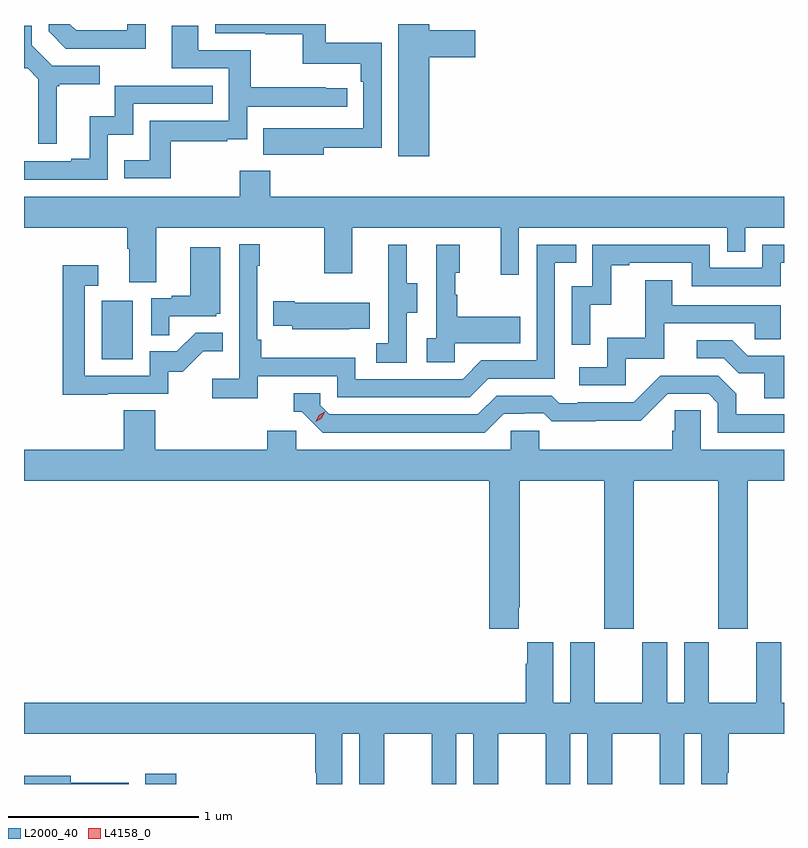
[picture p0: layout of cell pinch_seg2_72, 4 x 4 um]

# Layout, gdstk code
import gdstk
lib = gdstk.Library(unit=1e-6, precision=1e-09)
def R(c, l, rs):  # rectangles x0, y0, x1, y1
    for r in rs: c.add(gdstk.rectangle(r[:2], r[2:], *l))
def P(c, l, *ps):  # polygons
    for p in ps: c.add(gdstk.Polygon(p, *l))
L2000_40 = (2000, 40)
L4158_0 = (4158, 0)

pinch_seg2_72 = lib.new_cell('pinch_seg2_72')
R(pinch_seg2_72, L2000_40, [(1046.225,648.704,1046.386,648.757), (1045.994,650.94,1046.158,651.247)])
P(pinch_seg2_72, L2000_40, [(1047.718,652.529),(1047.961,652.529),(1047.961,652.671),(1047.718,652.671),(1047.718,652.704),(1047.557,652.704),(1047.557,652.008),(1047.718,652.008)],
  [(1046.227,652.704),(1046.13,652.704),(1046.13,652.671),(1045.86,652.671),(1045.827,652.704),(1045.716,652.704),(1045.716,652.665),(1045.806,652.575),(1046.022,652.575),(1046.022,652.574),(1046.227,652.574)],
  [(1047.163,652.054),(1047.468,652.054),(1047.468,652.606),(1047.175,652.606),(1047.175,652.704),(1046.592,652.704),(1046.592,652.656),(1046.857,652.656),(1046.857,652.651),(1047.054,652.651),(1047.054,652.496),(1047.359,652.496),(1047.359,652.4),(1047.372,652.4),(1047.372,652.155),(1047.059,652.155),(1047.059,652.156),(1046.845,652.156),(1046.845,652.016),(1047.163,652.016)],
  [(1045.759,652.377),(1045.771,652.377),(1045.771,652.388),(1045.984,652.388),(1045.984,652.485),(1045.734,652.485),(1045.627,652.592),(1045.627,652.694),(1045.586,652.694),(1045.586,652.47),(1045.605,652.47),(1045.662,652.413),(1045.662,652.074),(1045.759,652.074)],
  [(1046.359,652.086),(1046.657,652.086),(1046.657,652.097),(1046.76,652.097),(1046.76,652.269),(1047.286,652.269),(1047.286,652.365),(1047.173,652.365),(1047.173,652.37),(1046.78,652.37),(1046.78,652.566),(1046.503,652.566),(1046.503,652.694),(1046.363,652.694),(1046.363,652.47),(1046.664,652.47),(1046.664,652.194),(1046.248,652.194),(1046.248,651.988),(1046.113,651.988),(1046.113,651.891),(1046.359,651.891)],
  [(1046.028,652.121),(1046.16,652.121),(1046.16,652.284),(1046.579,652.284),(1046.579,652.38),(1046.064,652.38),(1046.064,652.219),(1045.931,652.219),(1045.931,651.994),(1045.835,651.994),(1045.835,651.981),(1045.586,651.981),(1045.586,651.885),(1046.028,651.885)],
  [(1046.281,651.632),(1047.166,651.632),(1047.166,651.393),(1047.313,651.393),(1047.313,651.632),(1048.094,651.632),(1048.094,651.384),(1048.191,651.384),(1048.191,651.632),(1049.286,651.632),(1049.286,651.505),(1049.382,651.505),(1049.382,651.632),(1049.586,651.632),(1049.586,651.796),(1046.882,651.796),(1046.882,651.931),(1046.722,651.931),(1046.722,651.796),(1045.586,651.796),(1045.586,651.632),(1046.129,651.632),(1046.129,651.52),(1046.141,651.52),(1046.141,651.346),(1046.281,651.346)],
  [(1046.816,650.85),(1047.234,650.85),(1047.234,650.739),(1047.931,650.739),(1048.03,650.838),(1048.38,650.838),(1048.38,651.447),(1048.493,651.447),(1048.493,651.543),(1048.284,651.543),(1048.284,650.934),(1047.993,650.934),(1047.894,650.835),(1047.33,650.835),(1047.33,650.947),(1046.834,650.947),(1046.834,651.043),(1046.814,651.043),(1046.814,651.431),(1046.827,651.431),(1046.827,651.544),(1046.718,651.544),(1046.718,650.836),(1046.577,650.836),(1046.577,650.734),(1046.816,650.734)],
  [(1048.566,651.227),(1048.676,651.227),(1048.676,651.435),(1048.771,651.435),(1048.771,651.447),(1049.1,651.447),(1049.1,651.324),(1049.568,651.324),(1049.568,651.447),(1049.586,651.447),(1049.586,651.543),(1049.472,651.543),(1049.472,651.42),(1049.196,651.42),(1049.196,651.543),(1048.578,651.543),(1048.578,651.324),(1048.47,651.324),(1048.47,651.015),(1048.566,651.015)],
  [(1047.6,651.184),(1047.655,651.184),(1047.655,651.339),(1047.601,651.339),(1047.601,651.541),(1047.503,651.541),(1047.503,651.327),(1047.504,651.327),(1047.504,651.023),(1047.441,651.023),(1047.441,650.92),(1047.6,650.92)],
  [(1047.852,651.023),(1048.199,651.023),(1048.199,651.163),(1047.865,651.163),(1047.865,651.278),(1047.855,651.278),(1047.855,651.396),(1047.88,651.396),(1047.88,651.541),(1047.756,651.541),(1047.756,651.05),(1047.705,651.05),(1047.705,650.925),(1047.852,650.925)],
  [(1046.351,651.165),(1046.598,651.165),(1046.598,651.18),(1046.62,651.18),(1046.62,651.529),(1046.462,651.529),(1046.462,651.274),(1046.363,651.274),(1046.363,651.261),(1046.256,651.261),(1046.256,651.067),(1046.351,651.067)],
  [(1046.027,650.757),(1046.346,650.757),(1046.346,650.874),(1046.422,650.874),(1046.529,650.981),(1046.633,650.981),(1046.633,651.08),(1046.489,651.08),(1046.391,650.982),(1046.247,650.982),(1046.247,650.853),(1045.905,650.853),(1045.905,651.327),(1045.978,651.327),(1045.978,651.433),(1045.789,651.433),(1045.789,650.752),(1046.027,650.752)],
  [(1048.752,650.943),(1048.957,650.943),(1048.957,651.129),(1049.431,651.129),(1049.431,651.045),(1049.568,651.045),(1049.568,651.225),(1048.999,651.225),(1048.999,651.355),(1048.855,651.355),(1048.855,651.052),(1048.656,651.052),(1048.656,650.898),(1048.509,650.898),(1048.509,650.802),(1048.752,650.802)],
  [(1047.299,651.101),(1047.407,651.101),(1047.407,651.238),(1047.01,651.238),(1047.01,651.246),(1046.899,651.246),(1046.899,651.116),(1046.997,651.116),(1046.997,651.098),(1047.299,651.098)],
  [(1049.586,650.958),(1049.395,650.958),(1049.314,651.039),(1049.127,651.039),(1049.127,650.946),(1049.268,650.946),(1049.348,650.866),(1049.483,650.866),(1049.483,650.734),(1049.586,650.734)],
  [(1048.111,650.652),(1048.218,650.652),(1048.218,650.655),(1048.321,650.655),(1048.363,650.613),(1048.596,650.613),(1048.596,650.615),(1048.832,650.615),(1048.974,650.757),(1049.19,650.757),(1049.238,650.709),(1049.238,650.553),(1049.586,650.553),(1049.586,650.649),(1049.335,650.649),(1049.335,650.759),(1049.241,650.853),(1048.935,650.853),(1048.794,650.712),(1048.501,650.712),(1048.501,650.709),(1048.402,650.709),(1048.363,650.748),(1048.074,650.748),(1047.975,650.649),(1047.192,650.649),(1047.144,650.697),(1047.144,650.76),(1047.005,650.76),(1047.005,650.664),(1047.048,650.664),(1047.159,650.553),(1048.012,650.553)],
  [(1048.189,649.633),(1048.194,649.633),(1048.194,650.3),(1048.639,650.3),(1048.639,649.521),(1048.794,649.521),(1048.794,650.3),(1049.239,650.3),(1049.239,649.521),(1049.394,649.521),(1049.394,650.3),(1049.586,650.3),(1049.586,650.464),(1049.148,650.464),(1049.148,650.672),(1049.011,650.672),(1049.011,650.562),(1048.997,650.562),(1048.997,650.464),(1048.299,650.464),(1048.299,650.562),(1048.149,650.562),(1048.149,650.464),(1047.018,650.464),(1047.018,650.562),(1046.867,650.562),(1046.867,650.464),(1046.276,650.464),(1046.276,650.672),(1046.111,650.672),(1046.111,650.464),(1045.586,650.464),(1045.586,650.3),(1048.034,650.3),(1048.034,649.521),(1048.189,649.521)],
  [(1048.235,649.337),(1048.228,649.337),(1048.228,649.132),(1045.586,649.132),(1045.586,648.968),(1047.119,648.968),(1047.119,648.763),(1047.125,648.763),(1047.125,648.704),(1047.262,648.704),(1047.262,648.968),(1047.35,648.968),(1047.35,648.704),(1047.481,648.704),(1047.481,648.968),(1047.731,648.968),(1047.731,648.704),(1047.862,648.704),(1047.862,648.968),(1047.95,648.968),(1047.95,648.704),(1048.081,648.704),(1048.081,648.968),(1048.331,648.968),(1048.331,648.704),(1048.462,648.704),(1048.462,648.968),(1048.55,648.968),(1048.55,648.704),(1048.681,648.704),(1048.681,648.968),(1048.931,648.968),(1048.931,648.704),(1049.062,648.704),(1049.062,648.968),(1049.15,648.968),(1049.15,648.704),(1049.287,648.704),(1049.287,648.763),(1049.294,648.763),(1049.294,648.968),(1049.586,648.968),(1049.586,649.132),(1049.572,649.132),(1049.572,649.45),(1049.441,649.45),(1049.441,649.132),(1049.191,649.132),(1049.191,649.45),(1049.06,649.45),(1049.06,649.132),(1048.972,649.132),(1048.972,649.45),(1048.841,649.45),(1048.841,649.132),(1048.591,649.132),(1048.591,649.45),(1048.46,649.45),(1048.46,649.132),(1048.372,649.132),(1048.372,649.45),(1048.235,649.45)],
  [(1046.136,648.71),(1045.831,648.71),(1045.831,648.748),(1045.586,648.748),(1045.586,648.704),(1046.136,648.704)])
P(pinch_seg2_72, L4158_0, [(1047.121,650.611),(1047.121,650.611),(1047.137,650.644),(1047.168,650.663),(1047.168,650.663),(1047.168,650.663),(1047.152,650.63),(1047.121,650.611)])

lib.write_gds('pinch_seg2_72.gds')
